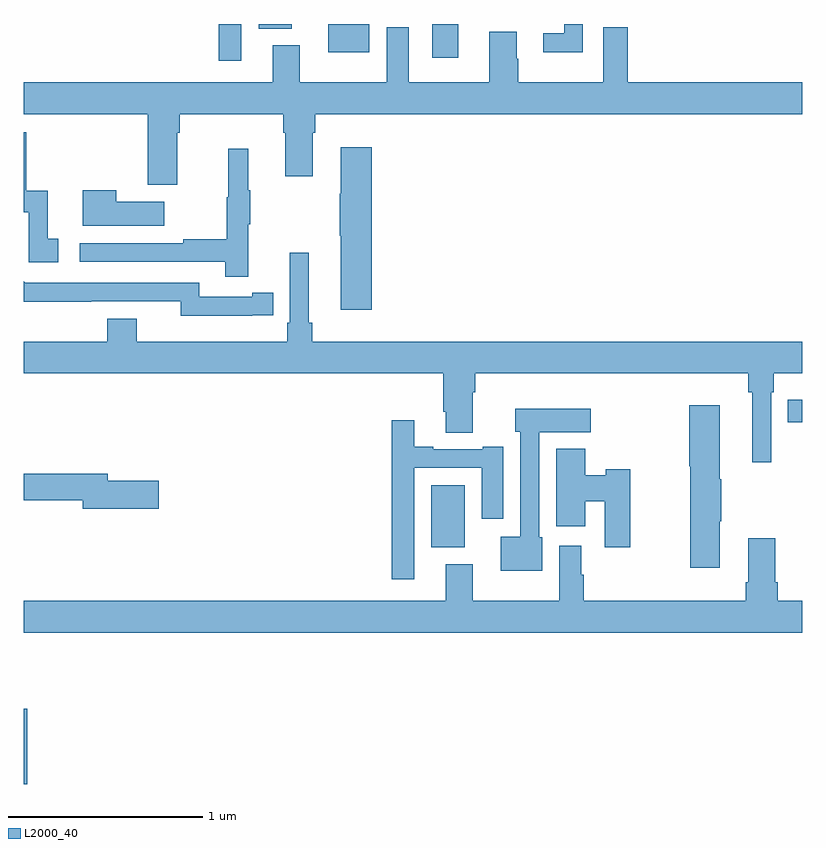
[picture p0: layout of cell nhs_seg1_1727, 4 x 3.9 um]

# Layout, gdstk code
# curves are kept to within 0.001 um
import gdstk
lib = gdstk.Library(unit=1e-6, precision=1e-09)
def R(c, l, rs):  # rectangles x0, y0, x1, y1
    for r in rs: c.add(gdstk.rectangle(r[:2], r[2:], *l))
def P(c, l, *ps):  # polygons
    for p in ps: c.add(gdstk.Polygon(p, *l))
L2000_40 = (2000, 40)

nhs_seg1_1727 = lib.new_cell('nhs_seg1_1727')
R(nhs_seg1_1727, L2000_40, [(205,544.295,205.018,544.681), (207.095,545.51,207.265,545.83), (208.924,546.154,209,546.27), (206.002,548.01,206.118,548.199), (207.098,548.025,207.232,548.199), (206.564,548.054,206.776,548.199), (206.207,548.174,206.377,548.199)])
P(nhs_seg1_1727, L2000_40, [(207.873,548.199),(207.777,548.199),(207.777,548.151),(207.669,548.151),(207.669,548.054),(207.873,548.054)],
  [(205.789,547.64),(205.802,547.64),(205.802,547.736),(206.333,547.736),(206.333,547.64),(206.345,547.64),(206.345,547.416),(206.485,547.416),(206.485,547.64),(206.498,547.64),(206.498,547.736),(209,547.736),(209,547.9),(208.103,547.9),(208.103,548.182),(207.977,548.182),(207.977,547.9),(207.54,547.9),(207.54,548.021),(207.532,548.021),(207.532,548.158),(207.392,548.158),(207.392,547.9),(206.977,547.9),(206.977,548.182),(206.864,548.182),(206.864,547.9),(206.419,547.9),(206.419,548.089),(206.279,548.089),(206.279,547.9),(205,547.9),(205,547.736),(205.637,547.736),(205.637,547.374),(205.789,547.374)],
  [(205.177,547.095),(205.124,547.095),(205.124,547.342),(205.013,547.342),(205.013,547.644),(205,547.644),(205,547.233),(205.026,547.233),(205.026,546.975),(205.177,546.975)],
  [(206.789,547.567),(206.63,547.567),(206.63,547.328),(206.623,547.328),(206.623,547.111),(206.63,547.111),(206.63,546.732),(206.789,546.732)],
  [(206.153,547.171),(206.164,547.171),(206.164,547.345),(206.153,547.345),(206.153,547.558),(206.05,547.558),(206.05,547.308),(206.043,547.308),(206.043,547.094),(205.819,547.094),(205.819,547.074),(205.287,547.074),(205.287,546.978),(206.035,546.978),(206.035,546.9),(206.153,546.9)],
  [(205.723,547.285),(205.475,547.285),(205.475,547.345),(205.304,547.345),(205.304,547.163),(205.723,547.163)],
  [(206.174,546.702),(206.282,546.702),(206.282,546.818),(206.174,546.818),(206.174,546.798),(205.902,546.798),(205.902,546.87),(205.008,546.87),(205,546.878),(205,546.773),(205.806,546.774),(205.806,546.701)],
  [(206.483,546.664),(206.464,546.664),(206.464,547.024),(206.367,547.024),(206.367,546.664),(206.354,546.664),(206.354,546.568),(205.582,546.568),(205.582,546.685),(205.43,546.685),(205.43,546.568),(205,546.568),(205,546.404),(207.155,546.404),(207.155,546.208),(207.167,546.208),(207.167,546.1),(207.307,546.1),(207.307,546.308),(207.32,546.308),(207.32,546.404),(208.723,546.404),(208.723,546.308),(208.742,546.308),(208.742,545.949),(208.839,545.949),(208.839,546.308),(208.853,546.308),(208.853,546.404),(209,546.404),(209,546.568),(206.483,546.568)],
  [(208.576,545.644),(208.584,545.644),(208.584,545.861),(208.576,545.861),(208.576,546.241),(208.418,546.241),(208.418,545.928),(208.423,545.928),(208.423,545.406),(208.576,545.406)],
  [(207.664,545.562),(207.648,545.562),(207.648,546.101),(207.913,546.101),(207.913,546.223),(207.524,546.223),(207.524,546.105),(207.552,546.105),(207.552,545.566),(207.452,545.566),(207.452,545.39),(207.664,545.39)],
  [(207.006,545.919),(207.353,545.919),(207.353,545.658),(207.463,545.658),(207.463,546.028),(207.359,546.028),(207.359,546.015),(207.103,546.015),(207.103,546.028),(207.007,546.028),(207.007,546.163),(206.89,546.163),(206.89,545.346),(207.006,545.346)],
  [(208.116,545.912),(207.99,545.912),(207.99,545.881),(207.886,545.881),(207.886,546.016),(207.737,546.016),(207.737,545.619),(207.886,545.619),(207.886,545.747),(207.986,545.747),(207.986,545.511),(208.116,545.511)],
  [(205.693,545.852),(205.432,545.852),(205.432,545.888),(205,545.888),(205,545.752),(205.304,545.752),(205.304,545.71),(205.693,545.71)],
  [(209,545.236),(208.874,545.236),(208.874,545.332),(208.861,545.332),(208.861,545.557),(208.721,545.557),(208.721,545.332),(208.709,545.332),(208.709,545.236),(207.878,545.236),(207.878,545.369),(207.865,545.369),(207.865,545.518),(207.752,545.518),(207.752,545.236),(207.307,545.236),(207.307,545.425),(207.167,545.425),(207.167,545.236),(205,545.236),(205,545.072),(209,545.072)])

lib.write_gds('nhs_seg1_1727.gds')
